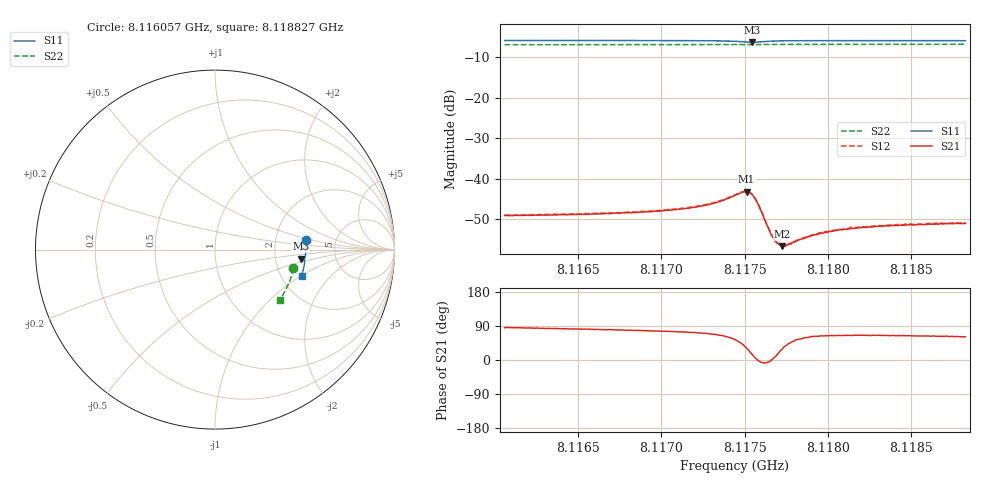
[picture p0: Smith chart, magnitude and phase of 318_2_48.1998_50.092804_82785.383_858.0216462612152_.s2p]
#  HZ  S  RI  R  50.00
! Rohde & Schwarz Vector Network Analyzer
! Rohde-Schwarz,ZNB20-2Port,1311601062101988,3.16
! Created: UTC 3/20/2024, 11:50:16 AM
! freq[Hz]  re:S11  im:S11  re:S21  im:S21  re:S12  im:S12  re:S22  im:S22
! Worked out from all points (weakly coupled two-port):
!   401 points, 8.116057 GHz to 8.118827 GHz, reference 50 ohm
!   highest |S21| = -43.22 dB at 8.117511 GHz (marker M1); lowest = -56.6 dB at 8.117726 GHz (marker M2)
!   lowest |S11| = -6.4 dB at 8.117546 GHz (marker M3), VSWR 2.85, Z = 140 - j18.5 ohm
!   |S11| at or under -10 dB: nowhere
!   |S22| runs from -7.0 to -6.8 dB; largest |S21 - S12| = 0.00018
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8.1160568e9  0.5044 0.054  0.000307 0.00349  0.00032 0.00354  0.4361 -0.1052
8.1165208e9  0.5062 0.0191  0.000529 0.00359  0.000597 0.00364  0.4286 -0.1365
8.1169849e9  0.5055 -0.0168  0.000965 0.00385  0.00103 0.00396  0.4189 -0.1672
8.1171511e9  0.5041 -0.0303  0.00121 0.00414  0.0013 0.00419  0.4149 -0.1782
8.1172688e9  0.5021 -0.0409  0.0016 0.00442  0.00167 0.00453  0.4118 -0.186
8.1173658e9  0.4987 -0.0502  0.00231 0.00484  0.00242 0.00491  0.4091 -0.1923
8.117442e9  0.4924 -0.0576  0.00366 0.00507  0.0038 0.00506  0.4068 -0.1972
8.1174835e9  0.4858 -0.0595  0.005 0.00461  0.00513 0.00463  0.4053 -0.1997
8.1175112e9  0.4808 -0.0578  0.0059 0.00358  0.00607 0.00356  0.4043 -0.2011
8.1175459e9  0.478 -0.051  0.0061 0.00152  0.00624 0.00152  0.4033 -0.2031
8.1175805e9  0.4824 -0.0453  0.00484 -9.58e-05  0.00499 -0.000142  0.4026 -0.2049
8.1176428e9  0.4931 -0.0475  0.00243 -0.000237  0.00248 -0.000233  0.4013 -0.2087
8.1176705e9  0.4955 -0.0507  0.00188 0.000122  0.0019 9e-05  0.4006 -0.2107
8.1176982e9  0.4972 -0.054  0.00152 0.000442  0.00158 0.000415  0.4 -0.2125
8.117726e9  0.4981 -0.0571  0.00129 0.000706  0.00134 0.000761  0.399 -0.2142
8.1177675e9  0.4988 -0.0618  0.00113 0.00108  0.00117 0.0011  0.3977 -0.2171
8.1178021e9  0.4991 -0.0652  0.001 0.00131  0.00107 0.00132  0.3967 -0.2193
8.117906e9  0.4988 -0.0748  0.000933 0.00177  0.001 0.00176  0.3934 -0.2259
8.1180515e9  0.497 -0.087  0.000998 0.0021  0.00101 0.00215  0.3887 -0.2348
8.1181277e9  0.4961 -0.093  0.00101 0.00219  0.00103 0.00224  0.3861 -0.2395
8.1183701e9  0.4924 -0.1114  0.00113 0.00235  0.00117 0.00242  0.3774 -0.2542
8.1188272e9  0.4832 -0.1447  0.00138 0.00246  0.0014 0.00255  0.3596 -0.2809
